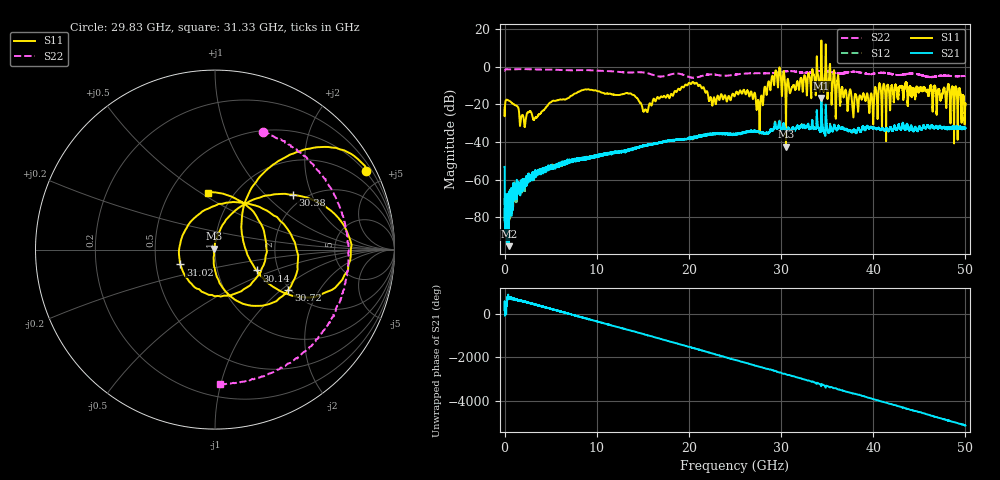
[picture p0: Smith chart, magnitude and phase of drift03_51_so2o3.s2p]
!Created with skrf (http://scikit-rf.org).
# Hz S RI R 50.0
!freq ReS11 ImS11 ReS21 ImS21 ReS12 ImS12 ReS22 ImS22
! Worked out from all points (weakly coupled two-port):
!   10001 points, 300 kHz to 50 GHz, reference 50 ohm
!   highest |S21| = -16.64 dB at 34.37 GHz (marker M1); lowest = -95.2 dB at 455.3 MHz (marker M2)
!   lowest |S11| = -42.5 dB at 30.53 GHz (marker M3), VSWR 1.02, Z = 49.4 + j0.445 ohm
!   |S11| at or under -10 dB: start of sweep to 19.55 GHz; 21.25 GHz to 28.55 GHz (7.297 GHz wide, 29.3 % of centre); 36.28 GHz to 40.62 GHz (4.336 GHz wide, 11.3 % of centre) (the widest 3 of 40)
!   |S22| runs from -5.9 to -1.3 dB; largest |S21 - S12| = 0.028
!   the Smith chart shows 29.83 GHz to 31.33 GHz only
!   S11 on the Smith chart (normalised r, x): 29.83 GHz: 0.44, +4.04; 30.14 GHz: 1.54, -0.38; 30.38 GHz: 1.73, +1.47; 30.72 GHz: 1.96, -1.12; 31.02 GHz: 0.67, -0.12; 31.33 GHz: 0.76, +0.54
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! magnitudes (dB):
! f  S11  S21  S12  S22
! 300 kHz  -21.7  -53.2  -69.8  -2.0
! 455.3 MHz  -18.0  -95.2  -71.1  -1.5
! 3.3 GHz  -27.3  -57.7  -57.6  -1.5
! 8.335 GHz  -12.6  -48.5  -49.4  -1.9
! 15.29 GHz  -22.8  -41.8  -41.7  -3.3
! 16.67 GHz  -16.5  -40.6  -40.6  -5.2
! 20.26 GHz  -9.1  -38.0  -37.8  -5.8
! 22.71 GHz  -16.4  -35.9  -35.6  -4.2
! 25 GHz  -15.3  -35.8  -35.8  -4.2
! 27.53 GHz  -17.9  -34.5  -34.4  -3.5
! 29.83 GHz  -0.4  -29.3  -28.7  -3.0
! 30.14 GHz  -11.7  -33.5  -33.3  -2.8
! 30.38 GHz  -5.5  -32.1  -32.5  -2.6
! 30.53 GHz  -42.5  -34.4  -34.0  -2.5
! 30.72 GHz  -6.6  -32.9  -32.7  -2.5
! 31.02 GHz  -13.5  -34.3  -34.1  -2.4
! 31.33 GHz  -9.9  -32.3  -32.5  -2.5
! 33.34 GHz  -7.4  -31.2  -31.2  -2.9
! 34.37 GHz  13.8  -16.6  -18.0  -2.3
! 37.86 GHz  -26.5  -33.6  -34.0  -2.8
! 41.67 GHz  -11.6  -34.1  -34.1  -3.6
! 50 GHz  -19.6  -32.5  -33.0  -5.0
